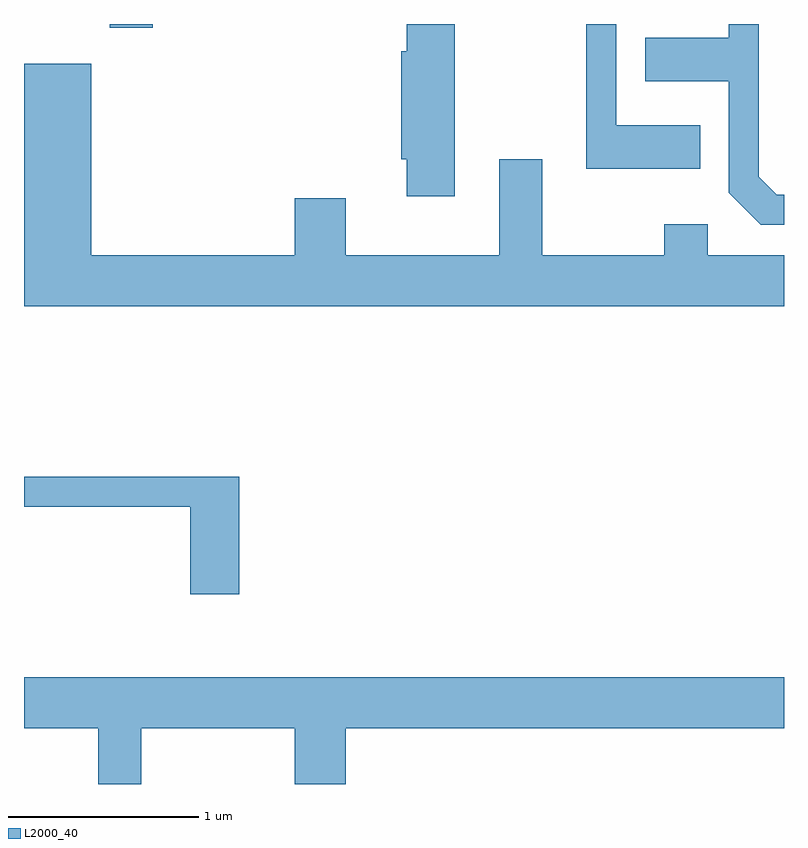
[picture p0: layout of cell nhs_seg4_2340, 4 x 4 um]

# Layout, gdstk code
import gdstk
lib = gdstk.Library(unit=1e-6, precision=1e-09)
def R(c, l, rs):  # rectangles x0, y0, x1, y1
    for r in rs: c.add(gdstk.rectangle(r[:2], r[2:], *l))
def P(c, l, *ps):  # polygons
    for p in ps: c.add(gdstk.Polygon(p, *l))
L2000_40 = (2000, 40)

nhs_seg4_2340 = lib.new_cell('nhs_seg4_2340')
R(nhs_seg4_2340, L2000_40, [(254.061,1313.961,254.289,1313.982)])
P(nhs_seg4_2340, L2000_40, [(257.611,1313.084),(257.572,1313.084),(257.479,1313.177),(257.479,1313.982),(257.321,1313.982),(257.321,1313.909),(256.881,1313.909),(256.881,1313.681),(257.321,1313.681),(257.321,1313.094),(257.489,1312.926),(257.611,1312.926)],
  [(255.879,1313.982),(255.626,1313.982),(255.626,1313.839),(255.596,1313.839),(255.596,1313.271),(255.626,1313.271),(255.626,1313.076),(255.879,1313.076)],
  [(257.169,1313.449),(256.729,1313.449),(256.729,1313.982),(256.571,1313.982),(256.571,1313.221),(257.169,1313.221)],
  [(257.611,1312.764),(257.209,1312.764),(257.209,1312.929),(256.981,1312.929),(256.981,1312.764),(256.339,1312.764),(256.339,1313.269),(256.111,1313.269),(256.111,1312.764),(255.304,1312.764),(255.304,1313.064),(255.036,1313.064),(255.036,1312.764),(253.964,1312.764),(253.964,1313.774),(253.611,1313.774),(253.611,1312.496),(257.611,1312.496)],
  [(254.744,1311.599),(253.611,1311.599),(253.611,1311.441),(254.486,1311.441),(254.486,1310.981),(254.744,1310.981)],
  [(254.229,1310.276),(255.036,1310.276),(255.036,1309.982),(255.304,1309.982),(255.304,1310.276),(257.611,1310.276),(257.611,1310.544),(253.611,1310.544),(253.611,1310.276),(254.001,1310.276),(254.001,1309.982),(254.229,1309.982)])

lib.write_gds('nhs_seg4_2340.gds')
